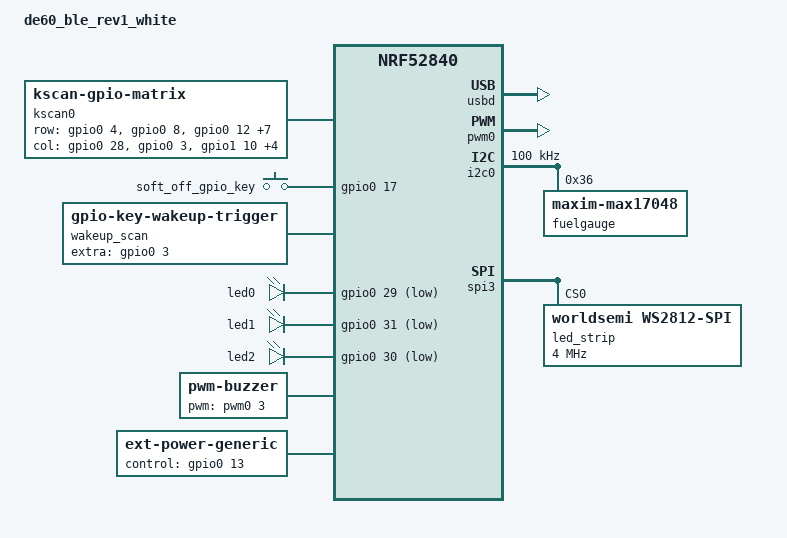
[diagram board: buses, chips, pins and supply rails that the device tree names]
/dts-v1/;

/*
 * Copyright (c) 2025 Deemen17 Works
 *
 * SPDX-License-Identifier: MIT
 */

#include <nordic/nrf52840_qiaa.dtsi>
#include <dt-bindings/led/led.h>
#include "de60_ble_rev1_white-pinctrl.dtsi"
#include "de60_ble_rev1_white-layouts.dtsi"
#include "de60_ble_rev1_white-transforms.dtsi"

// #define WAKEUP_SPACE
#define WAKEUP_D

/ {
    model = "de60_ble_rev1_white";
    compatible = "dekb,de60_ble_rev1_white";

    chosen {
        zephyr,code-partition = &code_partition;
        zephyr,sram = &sram0;
        zephyr,flash = &flash0;
        zmk,kscan = &kscan0;
        zmk,underglow = &led_strip;
        zmk,battery = &fuelgauge;
    };

    kscan0: kscan {
        compatible = "zmk,kscan-gpio-matrix";
        wakeup-source;
        diode-direction = "col2row";
        row-gpios
            = <&gpio0 4  (GPIO_ACTIVE_HIGH | GPIO_PULL_DOWN)>   // row0
            , <&gpio0 8  (GPIO_ACTIVE_HIGH | GPIO_PULL_DOWN)>   // row1
            , <&gpio0 12 (GPIO_ACTIVE_HIGH | GPIO_PULL_DOWN)>   // row2
            , <&gpio0 7  (GPIO_ACTIVE_HIGH | GPIO_PULL_DOWN)>   // row3
            , <&gpio0 15 (GPIO_ACTIVE_HIGH | GPIO_PULL_DOWN)>   // row4
            , <&gpio0 17 (GPIO_ACTIVE_HIGH | GPIO_PULL_DOWN)>   // row5
            , <&gpio1 9  (GPIO_ACTIVE_HIGH | GPIO_PULL_DOWN)>   // row6
            , <&gpio0 5  (GPIO_ACTIVE_HIGH | GPIO_PULL_DOWN)>   // row7
            , <&gpio1 4  (GPIO_ACTIVE_HIGH | GPIO_PULL_DOWN)>   // row8
            , <&gpio1 6  (GPIO_ACTIVE_HIGH | GPIO_PULL_DOWN)>   // row9
            ;
        col-gpios
            = <&gpio0 28 GPIO_ACTIVE_HIGH>  // col0
            , <&gpio0 3  GPIO_ACTIVE_HIGH>  // col1
            , <&gpio1 10 GPIO_ACTIVE_HIGH>  // col2
            , <&gpio1 11 GPIO_ACTIVE_HIGH>  // col3
            , <&gpio0 6  GPIO_ACTIVE_HIGH>  // col4
            , <&gpio1 2  GPIO_ACTIVE_HIGH>  // col5
            , <&gpio0 22 GPIO_ACTIVE_HIGH>  // col6
            ;
    };


    /* --- Wakeup after Soft-off using key --- */
    keys {
        compatible = "gpio-keys";
        soft_off_gpio_key: soft_off_gpio_key {
            #ifdef WAKEUP_SPACE
            gpios = <&gpio1 6 (GPIO_ACTIVE_HIGH | GPIO_PULL_DOWN)>; // row9
            #endif 

            #ifdef WAKEUP_D
            gpios = <&gpio0 17 (GPIO_ACTIVE_HIGH | GPIO_PULL_DOWN)>; // row5
            #endif
        };
    };

    wakeup_scan: wakeup_scan {
        compatible = "zmk,gpio-key-wakeup-trigger";
        trigger = <&soft_off_gpio_key>;
        wakeup-source;
        
        #ifdef WAKEUP_SPACE
        extra-gpios = <&gpio1 11 GPIO_ACTIVE_HIGH>; // col3
        #endif

        #ifdef WAKEUP_D
        extra-gpios = <&gpio0 3  GPIO_ACTIVE_HIGH>; // col1
        #endif
    };

    soft_off_wakers {
        compatible = "zmk,soft-off-wakeup-sources";
        wakeup-sources = <&wakeup_scan>;
    };

    aliases {
        indicator-r = &led0;
        indicator-g = &led1;
        indicator-b = &led2;
        buzzer = &buzzer;
    };

    leds {
        /* P0.29 R, P0.31 G, P0.30 B */
        compatible = "gpio-leds";
        status = "okay";
        led0: led_0 { gpios = <&gpio0 29 GPIO_ACTIVE_LOW>; }; //r
        led1: led_1 { gpios = <&gpio0 31 GPIO_ACTIVE_LOW>; }; //g
        led2: led_2 { gpios = <&gpio0 30 GPIO_ACTIVE_LOW>; }; //b
    };

    buzzer: pwm_buzzer {
        compatible = "pwm-buzzer";
		pwms = <&pwm0 3 1000 PWM_POLARITY_NORMAL>;
		//set status = "okay" to enable the buzzer
		// status = "disabled";
		status = "okay";
    };

    ext-power {
        compatible = "zmk,ext-power-generic";
        control-gpios = <&gpio0 13 GPIO_ACTIVE_HIGH>;
    };

};

&gpiote {
    status = "okay";
};

&gpio0 {
    status = "okay";
};

&gpio1 {
    status = "okay";
};

zephyr_udc0: &usbd {
    status = "okay";
};

&pwm0 {
    status = "okay";
    pinctrl-0 = <&pwm0_default>;
    pinctrl-1 = <&pwm0_sleep>;
    pinctrl-names = "default", "sleep";
};

&i2c0 {
    status = "okay";
    compatible = "nordic,nrf-twim";
    pinctrl-0 = <&i2c0_default>;
    pinctrl-1 = <&i2c0_sleep>;
    pinctrl-names = "default", "sleep";
    clock-frequency = <100000>;

    fuelgauge: max17048@36 {
        compatible = "zmk,maxim-max17048";
        reg = <0x36>;
        status = "okay";
    };
};

&spi3 {
    compatible = "nordic,nrf-spim";

    pinctrl-0 = <&spi3_default>;
    pinctrl-1 = <&spi3_sleep>;
    pinctrl-names = "default", "sleep";
    status = "okay";

    led_strip: ws2812@0 {
        compatible = "worldsemi,ws2812-spi";

        /* SPI */
        reg = <0>; /* ignored, but necessary for SPI bindings */
        spi-max-frequency = <4000000>;

        /* WS2812 */
        chain-length = <26>; /* LED strip length */
        spi-one-frame = <0x70>;
        spi-zero-frame = <0x40>;
        color-mapping = <LED_COLOR_ID_GREEN LED_COLOR_ID_RED LED_COLOR_ID_BLUE>;
    };
};

&flash0 {
    partitions {
        compatible = "fixed-partitions";
        #address-cells = <1>;
        #size-cells = <1>;

        sd_partition: partition@0 {
            reg = <0x00000000 0x00026000>;
        };

        code_partition: partition@26000 {
            reg = <0x00026000 0x000c6000>;
        };

        storage_partition: partition@ec000 {
            reg = <0x000ec000 0x00008000>;
        };

        boot_partition: partition@f4000 {
            reg = <0x000f4000 0x0000c000>;
        };
    };
};
